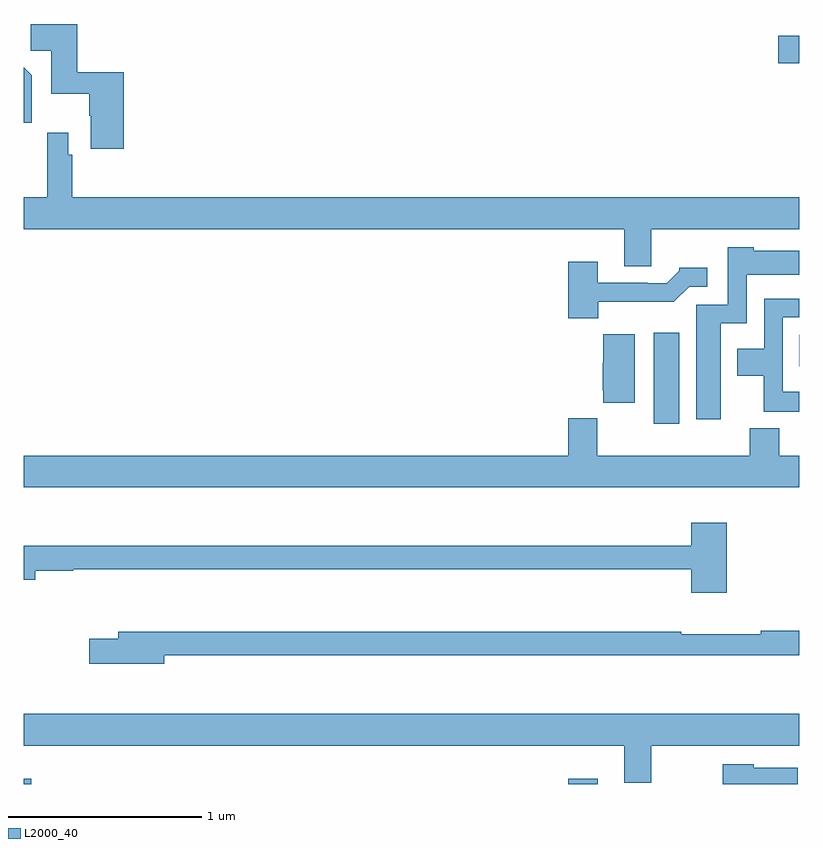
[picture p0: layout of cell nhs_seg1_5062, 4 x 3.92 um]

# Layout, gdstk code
import gdstk
lib = gdstk.Library(unit=1e-6, precision=1e-09)
def R(c, l, rs):  # rectangles x0, y0, x1, y1
    for r in rs: c.add(gdstk.rectangle(r[:2], r[2:], *l))
def P(c, l, *ps):  # polygons
    for p in ps: c.add(gdstk.Polygon(p, *l))
L2000_40 = (2000, 40)

nhs_seg1_5062 = lib.new_cell('nhs_seg1_5062')
R(nhs_seg1_5062, L2000_40, [(385,554.199,385.04,554.227), (387.809,554.199,387.961,554.227), (388.25,556.056,388.381,556.525), (388.999,556.352,389,556.516), (388.89,557.915,389,558.057)])
P(nhs_seg1_5062, L2000_40, [(385.517,557.869),(385.277,557.869),(385.277,558.118),(385.037,558.118),(385.037,557.98),(385.142,557.98),(385.142,557.759),(385.339,557.759),(385.339,557.644),(385.346,557.644),(385.346,557.475),(385.517,557.475)],
  [(385.042,557.854),(385,557.896),(385,557.61),(385.042,557.61)],
  [(388.237,557.06),(389,557.06),(389,557.224),(385.25,557.224),(385.25,557.444),(385.23,557.444),(385.23,557.557),(385.122,557.557),(385.122,557.224),(385,557.224),(385,557.06),(388.097,557.06),(388.097,556.87),(388.237,556.87)],
  [(388.594,556.574),(388.728,556.574),(388.728,556.826),(389,556.826),(389,556.948),(388.764,556.948),(388.764,556.966),(388.632,556.966),(388.632,556.671),(388.469,556.671),(388.469,556.08),(388.594,556.08)],
  [(387.964,556.686),(388.353,556.686),(388.431,556.764),(388.525,556.764),(388.525,556.861),(388.38,556.861),(388.38,556.846),(388.316,556.782),(388.217,556.782),(388.217,556.785),(387.961,556.785),(387.961,556.891),(387.809,556.891),(387.809,556.601),(387.964,556.601)],
  [(389,556.222),(388.914,556.222),(388.914,556.605),(389,556.605),(389,556.701),(388.818,556.701),(388.818,556.444),(388.679,556.444),(388.679,556.304),(388.816,556.304),(388.816,556.118),(389,556.118)],
  [(388.15,556.519),(387.988,556.519),(387.988,556.371),(387.986,556.371),(387.986,556.23),(387.99,556.23),(387.99,556.165),(388.15,556.165)],
  [(389,555.892),(388.897,555.892),(388.897,556.033),(388.745,556.033),(388.745,555.892),(387.959,555.892),(387.959,556.085),(387.809,556.085),(387.809,555.892),(385,555.892),(385,555.728),(389,555.728)],
  [(388.625,555.547),(388.442,555.547),(388.442,555.427),(385,555.427),(385,555.251),(385.06,555.251),(385.06,555.298),(385.256,555.298),(385.256,555.306),(388.442,555.306),(388.442,555.186),(388.625,555.186)],
  [(385.726,554.862),(389,554.862),(389,554.99),(388.802,554.99),(388.802,554.972),(388.391,554.972),(388.391,554.983),(385.487,554.983),(385.487,554.949),(385.338,554.949),(385.338,554.819),(385.726,554.819)],
  [(388.237,554.396),(389,554.396),(389,554.56),(385,554.56),(385,554.396),(388.097,554.396),(388.097,554.206),(388.237,554.206)],
  [(388.993,554.284),(388.764,554.284),(388.764,554.302),(388.604,554.302),(388.604,554.199),(388.993,554.199)])

lib.write_gds('nhs_seg1_5062.gds')
